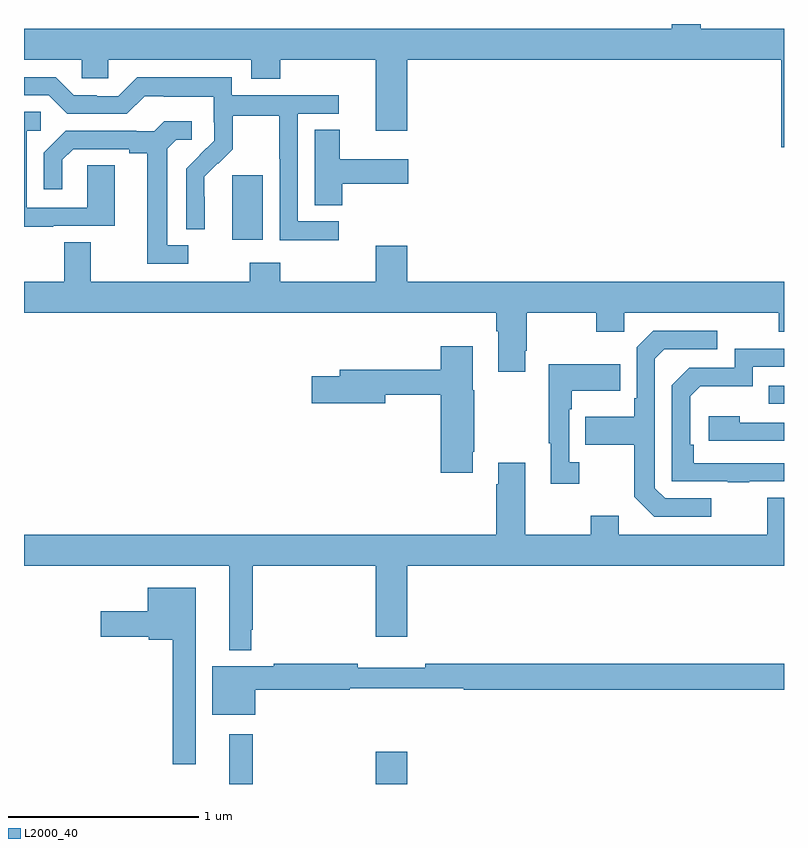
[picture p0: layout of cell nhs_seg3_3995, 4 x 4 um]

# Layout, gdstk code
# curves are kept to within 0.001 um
import gdstk
lib = gdstk.Library(unit=1e-6, precision=1e-09)
def R(c, l, rs):  # rectangles x0, y0, x1, y1
    for r in rs: c.add(gdstk.rectangle(r[:2], r[2:], *l))
def P(c, l, *ps):  # polygons
    for p in ps: c.add(gdstk.Polygon(p, *l))
L2000_40 = (2000, 40)

nhs_seg3_3995 = lib.new_cell('nhs_seg3_3995')
R(nhs_seg3_3995, L2000_40, [(320.081,734.4,320.203,734.662), (320.852,734.4,321.016,734.569), (322.921,736.401,323,736.497), (320.096,737.265,320.257,737.605)])
P(nhs_seg3_3995, L2000_40, [(319,738.212),(319.305,738.212),(319.305,738.114),(319.443,738.114),(319.443,738.212),(320.195,738.212),(320.195,738.113),(320.348,738.113),(320.348,738.212),(320.852,738.212),(320.852,737.838),(321.016,737.838),(321.016,738.212),(322.985,738.212),(322.985,737.751),(323,737.751),(323,738.376),(322.561,738.376),(322.561,738.4),(322.409,738.4),(322.409,738.376),(319,738.376)],
  [(320.656,737.361),(320.442,737.361),(320.442,737.928),(320.656,737.928),(320.656,738.024),(320.094,738.024),(320.094,738.121),(319.597,738.121),(319.497,738.021),(319.382,738.021),(319.382,738.024),(319.263,738.024),(319.167,738.12),(319,738.12),(319,738.024),(319.131,738.024),(319.227,737.928),(319.542,737.928),(319.635,738.021),(319.735,738.021),(319.735,738.017),(319.998,738.017),(319.998,737.883),(320,737.883),(320,737.786),(319.854,737.638),(319.854,737.32),(319.951,737.32),(319.951,737.492),(319.949,737.492),(319.949,737.597),(320.019,737.667),(320.022,737.664),(320.099,737.741),(320.099,737.916),(320.344,737.916),(320.344,737.692),(320.346,737.692),(320.346,737.263),(320.656,737.263)],
  [(319.153,737.337),(319.477,737.337),(319.477,737.657),(319.332,737.657),(319.332,737.433),(319.014,737.433),(319.014,737.838),(319.087,737.838),(319.087,737.939),(319,737.939),(319,737.333),(319.153,737.333)],
  [(319.864,737.235),(319.753,737.235),(319.753,737.743),(319.8,737.79),(319.882,737.79),(319.882,737.887),(319.738,737.887),(319.686,737.835),(319.592,737.835),(319.592,737.838),(319.22,737.838),(319.104,737.722),(319.104,737.529),(319.201,737.529),(319.201,737.685),(319.258,737.742),(319.553,737.742),(319.553,737.72),(319.649,737.72),(319.649,737.139),(319.864,737.139)],
  [(320.675,737.56),(321.022,737.56),(321.022,737.689),(320.662,737.689),(320.662,737.843),(320.531,737.843),(320.531,737.446),(320.675,737.446)],
  [(321.637,736.681),(321.645,736.681),(321.645,736.88),(322.012,736.88),(322.012,736.781),(322.158,736.781),(322.158,736.88),(322.972,736.88),(322.972,736.781),(323,736.781),(323,737.044),(321.016,737.044),(321.016,737.233),(320.852,737.233),(320.852,737.044),(320.348,737.044),(320.348,737.143),(320.188,737.143),(320.188,737.044),(319.351,737.044),(319.351,737.252),(319.211,737.252),(319.211,737.044),(319,737.044),(319,736.88),(321.485,736.88),(321.485,736.784),(321.497,736.784),(321.497,736.569),(321.637,736.569)],
  [(322.618,735.903),(322.374,735.903),(322.32,735.957),(322.32,736.638),(322.371,736.689),(322.648,736.689),(322.648,736.785),(322.311,736.785),(322.224,736.698),(322.224,736.429),(322.212,736.429),(322.212,736.333),(321.955,736.333),(321.955,736.186),(322.212,736.186),(322.212,735.913),(322.317,735.807),(322.618,735.807)],
  [(321.361,736.15),(321.369,736.15),(321.369,736.473),(321.361,736.473),(321.361,736.705),(321.194,736.705),(321.194,736.579),(320.663,736.579),(320.663,736.545),(320.514,736.545),(320.514,736.403),(320.902,736.403),(320.902,736.45),(321.194,736.45),(321.194,736.038),(321.361,736.038)],
  [(322.817,735.993),(323,735.993),(323,736.089),(322.526,736.089),(322.526,736.186),(322.506,736.186),(322.506,736.44),(322.559,736.493),(322.836,736.493),(322.836,736.596),(323,736.596),(323,736.692),(322.74,736.692),(322.74,736.59),(322.5,736.59),(322.41,736.5),(322.41,735.993),(322.705,735.993),(322.705,735.988),(322.817,735.988)],
  [(321.922,736.094),(321.87,736.094),(321.87,736.373),(321.883,736.373),(321.883,736.469),(322.139,736.469),(322.139,736.609),(321.762,736.609),(321.762,736.193),(321.773,736.193),(321.773,735.981),(321.922,735.981)],
  [(323,736.302),(322.766,736.302),(322.766,736.336),(322.605,736.336),(322.605,736.206),(323,736.206)],
  [(319,735.548),(320.081,735.548),(320.081,735.104),(320.196,735.104),(320.196,735.211),(320.203,735.211),(320.203,735.548),(320.852,735.548),(320.852,735.174),(321.016,735.174),(321.016,735.548),(323,735.548),(323,735.907),(322.913,735.907),(322.913,735.712),(322.129,735.712),(322.129,735.811),(321.982,735.811),(321.982,735.712),(321.637,735.712),(321.637,736.09),(321.497,736.09),(321.497,735.977),(321.485,735.977),(321.485,735.712),(319,735.712)],
  [(319.903,735.433),(319.652,735.433),(319.652,735.31),(319.404,735.31),(319.404,735.176),(319.656,735.176),(319.656,735.158),(319.782,735.158),(319.782,734.505),(319.903,734.505)],
  [(320.218,734.896),(320.714,734.896),(320.714,734.904),(321.314,734.904),(321.314,734.896),(323,734.896),(323,735.032),(321.112,735.032),(321.112,735.013),(320.756,735.013),(320.756,735.032),(320.314,735.032),(320.314,735.019),(319.991,735.019),(319.991,734.765),(320.218,734.765)])

lib.write_gds('nhs_seg3_3995.gds')
